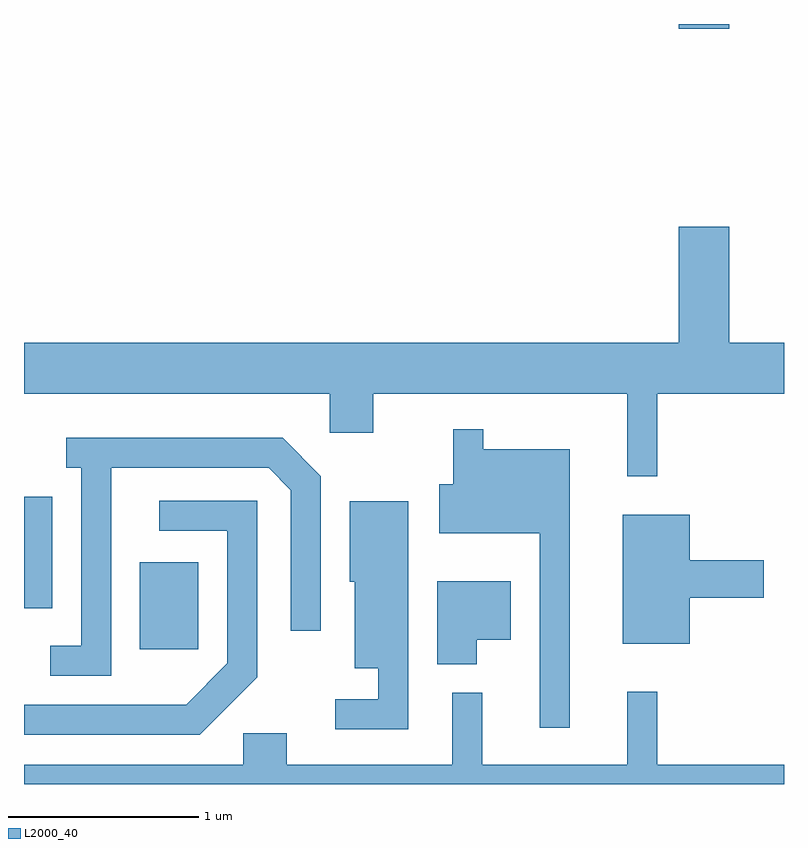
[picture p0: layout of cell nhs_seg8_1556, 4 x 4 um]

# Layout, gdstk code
import gdstk
lib = gdstk.Library(unit=1e-6, precision=1e-09)
def R(c, l, rs):  # rectangles x0, y0, x1, y1
    for r in rs: c.add(gdstk.rectangle(r[:2], r[2:], *l))
def P(c, l, *ps):  # polygons
    for p in ps: c.add(gdstk.Polygon(p, *l))
L2000_40 = (2000, 40)

nhs_seg8_1556 = lib.new_cell('nhs_seg8_1556')
R(nhs_seg8_1556, L2000_40, [(232.221,1855.051,232.529,1855.509), (231.611,1855.268,231.759,1855.854), (235.056,1858.316,235.324,1858.342)])
P(nhs_seg8_1556, L2000_40, [(234.944,1856.396),(235.611,1856.396),(235.611,1856.664),(235.324,1856.664),(235.324,1857.274),(235.056,1857.274),(235.056,1856.664),(231.611,1856.664),(231.611,1856.396),(233.221,1856.396),(233.221,1856.191),(233.449,1856.191),(233.449,1856.396),(234.786,1856.396),(234.786,1855.963),(234.944,1855.963)],
  [(234.484,1856.104),(234.029,1856.104),(234.029,1856.208),(233.871,1856.208),(233.871,1855.919),(233.796,1855.919),(233.796,1855.661),(234.326,1855.661),(234.326,1854.638),(234.484,1854.638)],
  [(232.069,1856.006),(232.899,1856.006),(233.016,1855.889),(233.016,1855.148),(233.174,1855.148),(233.174,1855.962),(232.972,1856.164),(231.833,1856.164),(231.833,1856.006),(231.911,1856.006),(231.911,1855.069),(231.748,1855.069),(231.748,1854.911),(232.069,1854.911)],
  [(232.839,1854.904),(232.839,1855.834),(232.323,1855.834),(232.323,1855.676),(232.681,1855.676),(232.681,1854.977),(232.464,1854.759),(231.611,1854.759),(231.611,1854.601),(232.537,1854.601)],
  [(233.634,1855.829),(233.326,1855.829),(233.326,1855.406),(233.351,1855.406),(233.351,1854.951),(233.476,1854.951),(233.476,1854.789),(233.248,1854.789),(233.248,1854.631),(233.634,1854.631)],
  [(235.114,1855.321),(235.504,1855.321),(235.504,1855.519),(235.114,1855.519),(235.114,1855.759),(234.761,1855.759),(234.761,1855.081),(235.114,1855.081)],
  [(233.994,1855.101),(234.174,1855.101),(234.174,1855.409),(233.786,1855.409),(233.786,1854.971),(233.994,1854.971)],
  [(235.611,1854.444),(234.944,1854.444),(234.944,1854.828),(234.786,1854.828),(234.786,1854.444),(234.024,1854.444),(234.024,1854.823),(233.866,1854.823),(233.866,1854.444),(232.994,1854.444),(232.994,1854.609),(232.766,1854.609),(232.766,1854.444),(231.611,1854.444),(231.611,1854.342),(235.611,1854.342)])

lib.write_gds('nhs_seg8_1556.gds')
